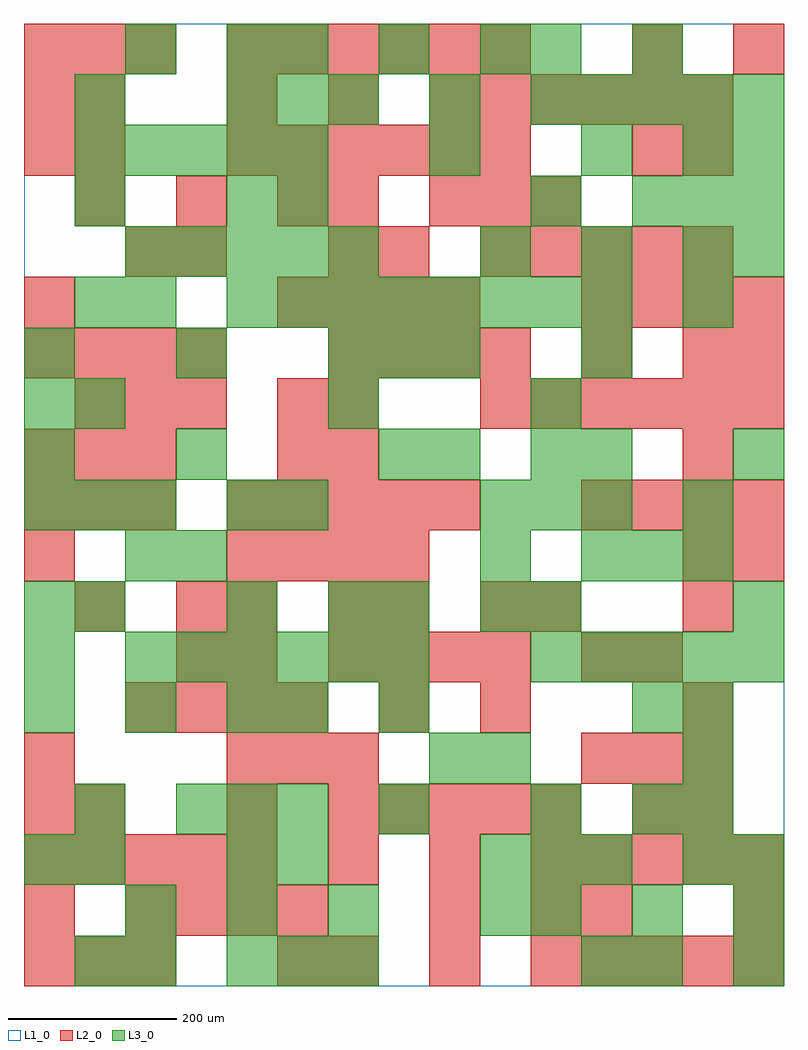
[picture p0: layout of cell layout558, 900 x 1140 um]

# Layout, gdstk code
import gdstk
lib = gdstk.Library(unit=1e-6, precision=1e-09)
def R(c, l, rs):  # rectangles x0, y0, x1, y1
    for r in rs: c.add(gdstk.rectangle(r[:2], r[2:], *l))
def A(c, l, x, y, w, h, nx, ny, dx, dy):  # array of equal rectangles
    R(c, l, [(x+i*dx, y+j*dy, x+i*dx+w, y+j*dy+h) for i in range(nx) for j in range(ny)])
L1_0 = (1, 0)
L2_0 = (2, 0)
L3_0 = (3, 0)

layout558 = lib.new_cell('layout558')
R(layout558, L1_0, [(0,0,900,1140)])
A(layout558, L2_0, 0, 0, 60, 60, 3, 2, 60, 540)
A(layout558, L2_0, 360, 0, 60, 60, 3, 2, 120, 120)
A(layout558, L2_0, 660, 0, 60, 60, 4, 2, 60, 120)
A(layout558, L2_0, 120, 60, 60, 60, 4, 2, 60, 240)
A(layout558, L2_0, 0, 120, 60, 60, 5, 1, 60, 0)
A(layout558, L2_0, 360, 180, 60, 60, 5, 1, 60, 0)
A(layout558, L2_0, 780, 180, 60, 60, 1, 3, 0, 120)
A(layout558, L2_0, 240, 240, 60, 60, 3, 1, 60, 0)
A(layout558, L2_0, 660, 240, 60, 60, 3, 1, 60, 0)
A(layout558, L2_0, 360, 360, 60, 60, 4, 2, 60, 360)
A(layout558, L2_0, 240, 480, 60, 60, 4, 1, 60, 0)
A(layout558, L2_0, 780, 480, 60, 60, 1, 3, 0, 120)
A(layout558, L2_0, 240, 540, 60, 60, 5, 1, 60, 0)
A(layout558, L2_0, 660, 540, 60, 60, 4, 2, 60, 240)
A(layout558, L2_0, 0, 600, 60, 60, 3, 2, 60, 480)
A(layout558, L2_0, 60, 660, 60, 60, 3, 1, 60, 0)
A(layout558, L2_0, 540, 660, 60, 60, 6, 1, 60, 0)
A(layout558, L2_0, 0, 720, 60, 60, 4, 1, 60, 0)
A(layout558, L2_0, 300, 780, 60, 60, 4, 1, 60, 0)
A(layout558, L2_0, 540, 840, 60, 60, 5, 2, 60, 180)
A(layout558, L2_0, 60, 900, 60, 60, 3, 1, 120, 0)
A(layout558, L2_0, 480, 900, 60, 60, 3, 1, 60, 0)
A(layout558, L2_0, 240, 960, 60, 60, 6, 2, 60, 120)
A(layout558, L2_0, 240, 1020, 60, 60, 3, 1, 120, 0)
R(layout558, L2_0, [(300,0,360,60), (0,60,60,120), (480,60,540,120), (600,60,660,120), (660,60,720,120), (840,60,900,120), (0,180,60,240), (60,180,120,240), (240,180,300,240), (720,180,780,240), (0,240,60,300), (420,300,480,360), (540,300,600,360), (180,360,240,420), (240,360,300,420), (660,360,720,420), (720,360,780,420), (60,420,120,480), (180,420,240,480), (240,420,300,480), (360,420,420,480), (420,420,480,480), (540,420,600,480), (600,420,660,480), (0,480,60,540), (840,480,900,540), (300,600,360,660), (360,600,420,660), (300,660,360,720), (360,660,420,720), (660,720,720,780), (840,720,900,780), (0,780,60,840), (120,840,180,900), (180,840,240,900), (360,840,420,900), (420,840,480,900), (360,900,420,960), (0,960,60,1020), (60,960,120,1020), (720,960,780,1020), (780,960,840,1020), (0,1020,60,1080), (60,1020,120,1080), (720,1080,780,1140), (840,1080,900,1140)])
A(layout558, L3_0, 240, 0, 60, 60, 3, 2, 60, 1020)
A(layout558, L3_0, 120, 60, 60, 60, 3, 1, 120, 0)
A(layout558, L3_0, 540, 60, 60, 60, 1, 3, 0, 180)
A(layout558, L3_0, 600, 60, 60, 60, 3, 1, 120, 0)
A(layout558, L3_0, 540, 120, 60, 60, 3, 2, 60, 420)
A(layout558, L3_0, 780, 120, 60, 60, 1, 4, 0, 60)
A(layout558, L3_0, 60, 180, 60, 60, 1, 3, 0, 240)
A(layout558, L3_0, 180, 180, 60, 60, 3, 1, 60, 0)
A(layout558, L3_0, 420, 180, 60, 60, 1, 3, 0, 120)
A(layout558, L3_0, 0, 300, 60, 60, 3, 1, 120, 0)
A(layout558, L3_0, 120, 360, 60, 60, 6, 1, 60, 0)
A(layout558, L3_0, 600, 360, 60, 60, 5, 2, 60, 660)
A(layout558, L3_0, 120, 480, 60, 60, 1, 3, 0, 300)
A(layout558, L3_0, 660, 480, 60, 60, 3, 1, 60, 0)
A(layout558, L3_0, 0, 540, 60, 60, 3, 1, 60, 0)
A(layout558, L3_0, 0, 720, 60, 60, 3, 1, 180, 0)
A(layout558, L3_0, 60, 780, 60, 60, 1, 3, 0, 120)
A(layout558, L3_0, 240, 780, 60, 60, 8, 1, 60, 0)
A(layout558, L3_0, 120, 840, 60, 60, 5, 1, 60, 0)
A(layout558, L3_0, 540, 840, 60, 60, 3, 1, 120, 0)
A(layout558, L3_0, 720, 900, 60, 60, 3, 1, 60, 0)
A(layout558, L3_0, 60, 960, 60, 60, 5, 1, 60, 0)
A(layout558, L3_0, 300, 1080, 60, 60, 3, 1, 120, 0)
R(layout558, L3_0, [(60,0,120,60), (120,0,180,60), (660,0,720,60), (720,0,780,60), (840,0,900,60), (0,120,60,180), (60,120,120,180), (240,120,300,180), (300,120,360,180), (840,120,900,180), (600,180,660,240), (720,180,780,240), (480,240,540,300), (300,300,360,360), (720,300,780,360), (0,360,60,420), (0,420,60,480), (240,420,300,480), (360,420,420,480), (600,420,660,480), (840,420,900,480), (180,480,240,540), (540,480,600,540), (240,540,300,600), (300,540,360,600), (780,540,840,600), (0,600,60,660), (180,600,240,660), (420,600,480,660), (480,600,540,660), (600,600,660,660), (660,600,720,660), (840,600,900,660), (0,660,60,720), (360,660,420,720), (600,660,660,720), (420,720,480,780), (480,720,540,780), (660,720,720,780), (780,780,840,840), (840,840,900,900), (240,900,300,960), (300,900,360,960), (600,900,660,960), (480,960,540,1020), (660,960,720,1020), (780,960,840,1020), (840,960,900,1020), (480,1020,540,1080), (240,1080,300,1140), (600,1080,660,1140), (720,1080,780,1140)])

lib.write_gds('layout558.gds')
